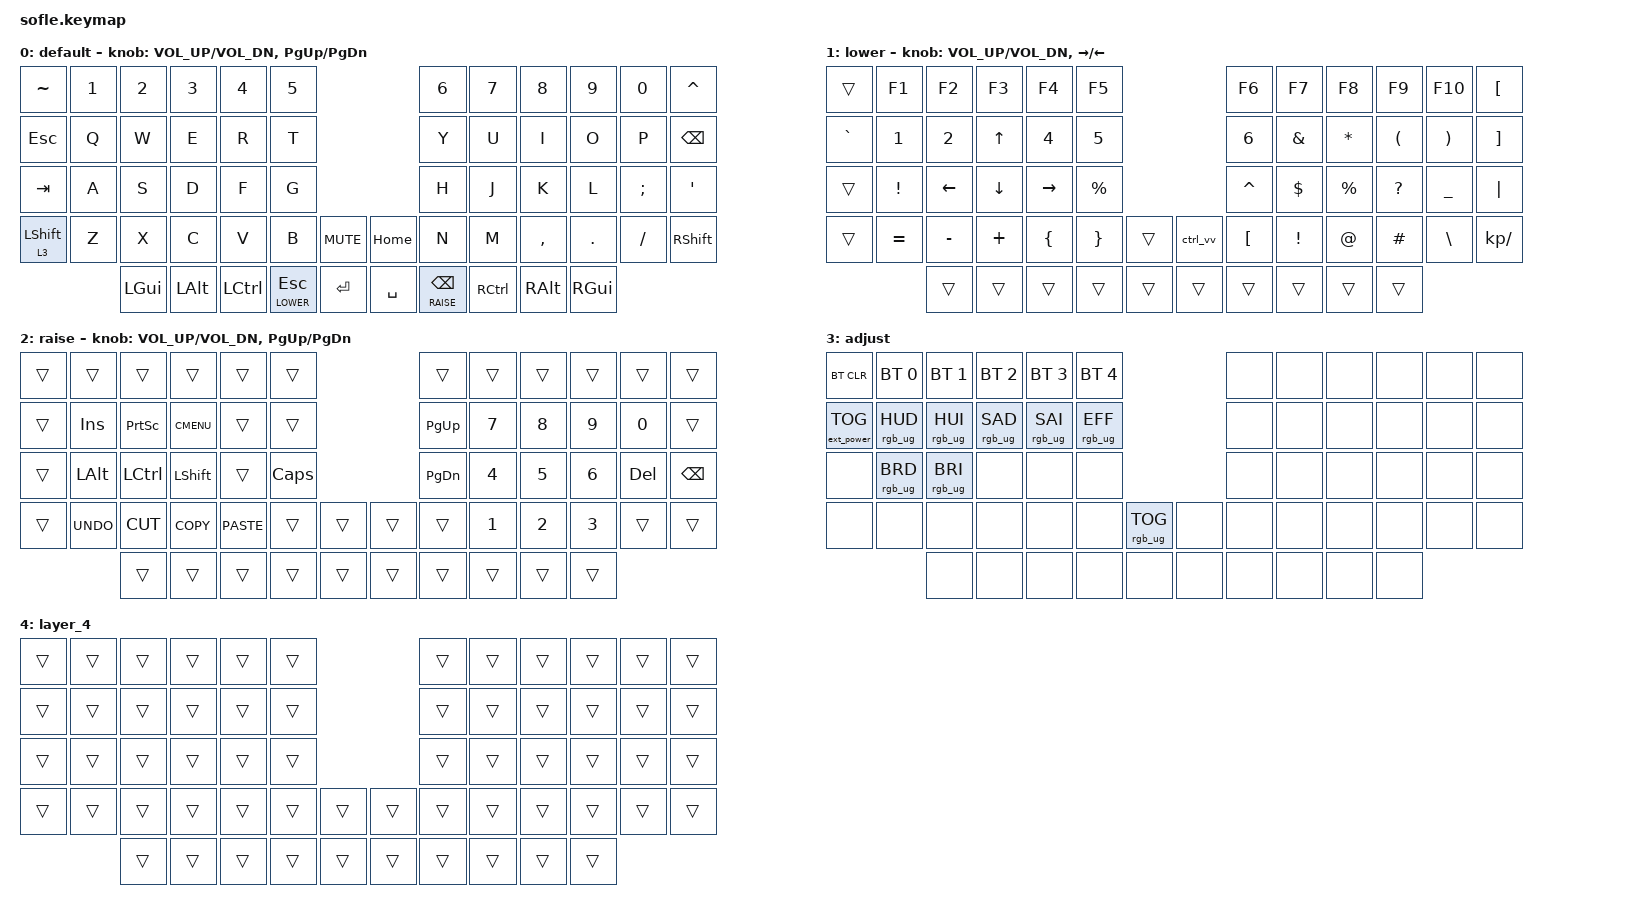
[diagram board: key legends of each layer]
/*
 * Copyright (c) 2020 The ZMK Contributors
 *
 * SPDX-License-Identifier: MIT
 */

#include <behaviors.dtsi>
#include <dt-bindings/zmk/bt.h>
#include <dt-bindings/zmk/ext_power.h>
#include <dt-bindings/zmk/keys.h>
#include <dt-bindings/zmk/rgb.h>

#define BASE 0
#define LOWER 1
#define RAISE 2
#define ADJUST 3

/ {
    // Activate ADJUST layer by pressing raise and lower

    conditional_layers {
        compatible = "zmk,conditional-layers";

        adjust_layer {
            if-layers = <LOWER RAISE>;
            then-layer = <ADJUST>;
        };
    };

    macros {
        ctrl_vv: ctrl_z {
            compatible = "zmk,behavior-macro";
            #binding-cells = <0>;
            bindings =
                <&macro_press>,
                <&kp LCTRL>,
                <&macro_tap>,
                <&kp LS(V) &kp LS(V)>,
                <&macro_release>,
                <&kp LCTRL>;

            label = "CTRL_Z";
        };
    };

    combos {
        compatible = "zmk,combos";

        TESTE {
            bindings = <&ctrl_vv>;
            key-positions = <11 10>;
        };
    };

    keymap {
        compatible = "zmk,keymap";

        default_layer {
            display-name = "default";

            // ------------------------------------------------------------------------------------------------------------
            // |   `   |  1  |  2  |  3   |  4   |  5   |                   |  6   |  7    |  8    |  9   |   0   |       |
            // |  ESC  |  Q  |  W  |  E   |  R   |  T   |                   |  Y   |  U    |  I    |  O   |   P   | BKSPC |
            // |  TAB  |  A  |  S  |  D   |  F   |  G   |                   |  H   |  J    |  K    |  L   |   ;   |   '   |
            // | SHIFT |  Z  |  X  |  C   |  V   |  B   |  MUTE  |  |       |  N   |  M    |  ,    |  .   |   /   | SHIFT |
            //               | GUI | ALT  | CTRL | LOWER|  ENTER |  | SPACE | RAISE| CTRL  | ALT   | GUI  |

            bindings = <
&kp TILDE         &kp N1  &kp N2    &kp N3    &kp N4     &kp N5                                  &kp N6               &kp N7     &kp N8     &kp N9    &kp N0    &kp CARET
&kp ESC           &kp Q   &kp W     &kp E     &kp R      &kp T                                   &kp Y                &kp U      &kp I      &kp O     &kp P     &kp BSPC
&kp TAB           &kp A   &kp S     &kp D     &kp F      &kp G                                   &kp H                &kp J      &kp K      &kp L     &kp SEMI  &kp SQT
&lt 3 LEFT_SHIFT  &kp Z   &kp X     &kp C     &kp V      &kp B          &kp C_MUTE    &kp HOME   &kp N                &kp M      &kp COMMA  &kp DOT   &kp FSLH  &kp RSHFT
                          &kp LGUI  &kp LALT  &kp LCTRL  &lt LOWER ESC  &kp RET       &kp SPACE  &lt RAISE BACKSPACE  &kp RCTRL  &kp RALT   &kp RGUI
            >;

            sensor-bindings = <&inc_dec_kp C_VOL_UP C_VOL_DN &inc_dec_kp PG_UP PG_DN>;
        };

        lower_layer {
            display-name = "lower";

            // TODO: Some binds are waiting for shifted keycode support.
            // ------------------------------------------------------------------------------------------------------------
            // |       |  F1 |  F2 |  F3  |  F4  |  F5  |                   |  F6  |  F7   |  F8   |  F9  |  F10  |  F11  |
            // |   `   |  1  |  2  |  3   |  4   |  5   |                   |  6   |  7    |  8    |  9   |   0   |  F12  |
            // |       |  !  |  @  |  #   |  $   |  %   |                   |  ^   |  &    |  *    |  (   |   )   |   |   |
            // |       |  =  |  -  |  +   |  {   |  }   |        |  |       |  [   |  ]    |  ;    |  :   |   \   |       |
            //               |     |      |      |      |        |  |       |      |       |       |      |

            bindings = <
&trans     &kp F1     &kp F2     &kp F3    &kp F4     &kp F5                         &kp F6     &kp F7           &kp F8        &kp F9                &kp F10                &kp LEFT_BRACKET
&kp GRAVE  &kp N1     &kp N2     &kp UP    &kp N4     &kp N5                         &kp N6     &kp AMPERSAND    &kp ASTERISK  &kp LEFT_PARENTHESIS  &kp RIGHT_PARENTHESIS  &kp RIGHT_BRACKET
&trans     &kp EXCL   &kp LEFT   &kp DOWN  &kp RIGHT  &kp PRCNT                      &kp CARET  &kp DOLLAR       &kp PERCENT   &kp QMARK             &kp UNDER              &kp PIPE
&trans     &kp EQUAL  &kp MINUS  &kp PLUS  &kp LBRC   &kp RBRC   &trans    &ctrl_vv  &kp LBKT   &kp EXCLAMATION  &kp AT_SIGN   &kp HASH              &kp BSLH               &kp KP_DIVIDE
                      &trans     &trans    &trans     &trans     &trans    &trans    &trans     &trans           &trans        &trans
            >;

            sensor-bindings =
                <&inc_dec_kp C_VOL_UP C_VOL_DN>,
                <&inc_dec_kp RIGHT_ARROW LEFT_ARROW>;
        };

        raise_layer {
            display-name = "raise";

            // ------------------------------------------------------------------------------------------------------------
            // | BTCLR | BT1  | BT2  |  BT3  |  BT4  |  BT5 |                |      |      |       |      |       |       |
            // |       | INS  | PSCR | GUI   |       |      |                | PGUP |      |   ^   |      |       |       |
            // |       | ALT  | CTRL | SHIFT |       | CAPS |                | PGDN |   <- |   v   |  ->  |  DEL  | BKSPC |
            // |       | UNDO | CUT  | COPY  | PASTE |      |      |  |      |      |      |       |      |       |       |
            //                |      |       |       |      |      |  |      |      |      |       |      |

            bindings = <
&trans  &trans      &trans     &trans       &trans       &trans                      &trans     &trans  &trans  &trans  &trans   &trans
&trans  &kp INS     &kp PSCRN  &kp K_CMENU  &trans       &trans                      &kp PG_UP  &kp N7  &kp N8  &kp N9  &kp N0   &trans
&trans  &kp LALT    &kp LCTRL  &kp LSHFT    &trans       &kp CLCK                    &kp PG_DN  &kp N4  &kp N5  &kp N6  &kp DEL  &kp BSPC
&trans  &kp K_UNDO  &kp K_CUT  &kp K_COPY   &kp K_PASTE  &trans    &trans    &trans  &trans     &kp N1  &kp N2  &kp N3  &trans   &trans
                    &trans     &trans       &trans       &trans    &trans    &trans  &trans     &trans  &trans  &trans
            >;

            sensor-bindings = <&inc_dec_kp C_VOL_UP C_VOL_DN &inc_dec_kp PG_UP PG_DN>;
        };

        adjust_layer {
            // ----------------------------------------------------------------------------------------------------------------------------
            // | BTCLR  |  BT1    |  BT2    |   BT3   |   BT4   |   BT5   |                  |      |      |       |      |       |       |
            // | EXTPWR | RGB_HUD | RGB_HUI | RGB_SAD | RGB_SAI | RGB_EFF |                  |      |      |       |      |       |       |
            // |        | RGB_BRD | RGB_BRI |         |         |         |                  |      |      |       |      |       |       |
            // |        |         |         |         |         |         | RGB_TOG | |      |      |      |       |      |       |       |
            //                    |         |         |         |         |         | |      |      |      |       |      |

            display-name = "adjust";
            bindings = <
&bt BT_CLR         &bt BT_SEL 0     &bt BT_SEL 1     &bt BT_SEL 2     &bt BT_SEL 3     &bt BT_SEL 4                               &none  &none  &none  &none  &none  &none
&ext_power EP_TOG  &rgb_ug RGB_HUD  &rgb_ug RGB_HUI  &rgb_ug RGB_SAD  &rgb_ug RGB_SAI  &rgb_ug RGB_EFF                            &none  &none  &none  &none  &none  &none
&none              &rgb_ug RGB_BRD  &rgb_ug RGB_BRI  &none            &none            &none                                      &none  &none  &none  &none  &none  &none
&none              &none            &none            &none            &none            &none            &rgb_ug RGB_TOG    &none  &none  &none  &none  &none  &none  &none
                                    &none            &none            &none            &none            &none              &none  &none  &none  &none  &none
            >;
        };

        layer_4 {
            bindings = <
&trans  &trans  &trans  &trans  &trans  &trans                    &trans  &trans  &trans  &trans  &trans  &trans
&trans  &trans  &trans  &trans  &trans  &trans                    &trans  &trans  &trans  &trans  &trans  &trans
&trans  &trans  &trans  &trans  &trans  &trans                    &trans  &trans  &trans  &trans  &trans  &trans
&trans  &trans  &trans  &trans  &trans  &trans  &trans    &trans  &trans  &trans  &trans  &trans  &trans  &trans
                &trans  &trans  &trans  &trans  &trans    &trans  &trans  &trans  &trans  &trans
            >;
        };
    };
};
